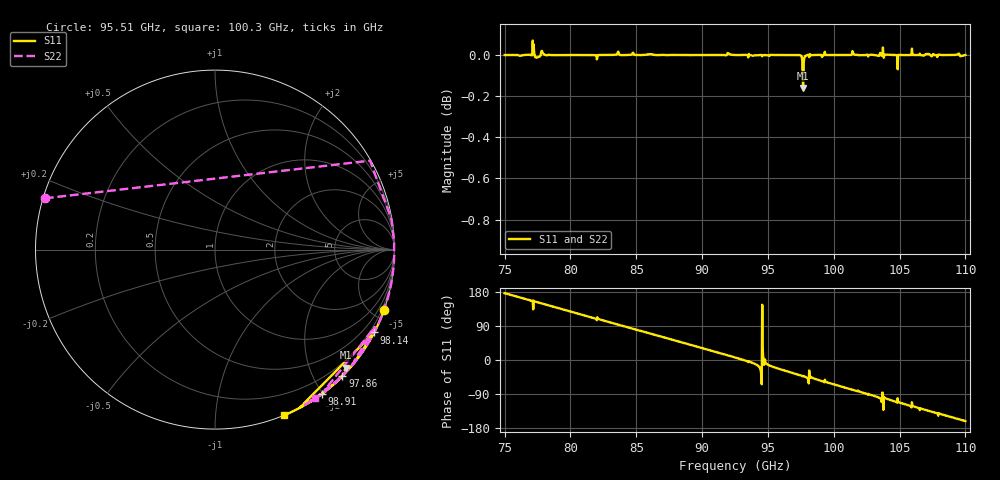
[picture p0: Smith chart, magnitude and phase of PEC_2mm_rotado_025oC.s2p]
! TOUCHSTONE file generated by CST MICROWAVE STUDIO
! Date and time: Wed Feb 14 15:11:34 2024
! Project name: metal_rotado.cst
! Parameters = {angY=0.25}
! Header version: 2018
! Port assignment regex: !\s*Touchstone port\s*([0-9]+)\s*=\s*(CST MWS port|CST DS port)\s*([0-9]+|Zmin|Zmax)\s*\(\"(.*)\"\)(\s*mode\s*([0-9]+))?.*
! Touchstone port assignment:
! Touchstone port 1 = CST MWS port 1 ("")
! Touchstone port 2 = CST MWS port 2 ("")
# GHz S MA R 376.7
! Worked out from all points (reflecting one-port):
!   1001 points, 75 GHz to 110 GHz, reference 376.7 ohm
!   lowest |S11| = -0.2 dB at 97.68 GHz (marker M1), VSWR 108.10, Z = 27.1 - j980 ohm
!   phase of S11 starts at 176 deg and turns -698 deg over the sweep
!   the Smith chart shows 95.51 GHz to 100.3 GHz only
!   S11 on the Smith chart (normalised r, x): 95.51 GHz: -0.00, -5.79; 97.86 GHz: 0.00, -2.43; 98.14 GHz: 0.01, -4.08; 98.91 GHz: -0.00, -1.99; 100.3 GHz: -0.00, -1.50
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75  1 176.4  0 0.0  0 0.0  1 -176.0
80.845  1 120.0  4.297e-65 -179.9  4.297e-65 -179.9  0.9999 128.3
86.69  1 63.6  3.101e-65 -179.9  3.101e-65 -179.9  1 72.5
92.5  1 6.8  0 0.0  0 0.0  1 16.6
94.355  1 -19.0  1.401e-65 180.0  1.401e-65 180.0  0.9998 -1.9
94.425  1 -24.1  1.301e-65 180.0  1.301e-65 180.0  0.9999 -2.7
94.74  1 -4.6  0 0.0  0 0.0  1 -6.3
94.81  0.9999 -6.4  8.009e-66 180.0  8.009e-66 180.0  0.9998 -7.2
95.3  1 -17.0  6.006e-66 180.0  6.006e-66 180.0  1 -17.1
95.335  1 -17.5  6.006e-66 180.0  6.006e-66 180.0  1 -18.9
95.51  1 -19.6  0 0.0  0 0.0  0.9893 163.2
95.755  1 -22.4  5.005e-66 180.0  5.005e-66 180.0  0.9996 -7.7
97.68  0.9817 -42.0  1.001e-66 -0.0  1.001e-66 -0.0  1 -31.8
97.855  0.9995 -44.7  2.002e-66 -0.0  2.002e-66 -0.0  1 -33.6
98.135  0.9988 -27.5  0 0.0  0 0.0  1 -36.4
98.345  0.9999 -46.6  7.006e-66 -0.0  7.006e-66 -0.0  1 -38.5
98.905  1 -53.4  9.006e-66 -0.0  9.006e-66 -0.0  0.9979 -45.1
100.305  1 -67.3  1.501e-65 -0.1  1.501e-65 -0.1  1 -56.0
104.19  1 -104.3  3.199e-65 -0.1  3.199e-65 -0.1  0.9998 -95.0
104.365  1 -106.3  3.199e-65 -0.1  3.199e-65 -0.1  0.9999 -97.4
106.43  1 -126.5  4.597e-65 -0.1  4.597e-65 -0.1  1 -115.4
110  1 -161.2  0 0.0  0 0.0  1 -149.7
